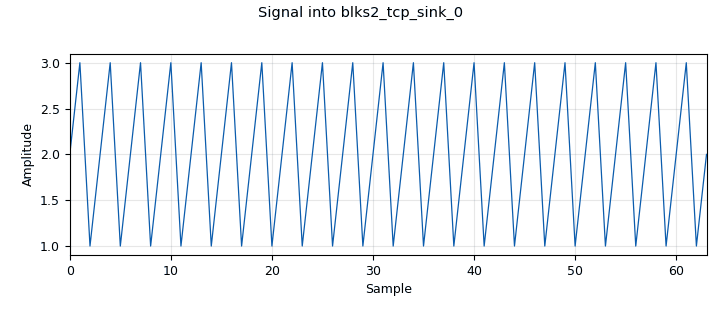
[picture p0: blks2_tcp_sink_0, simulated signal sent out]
<?xml version='1.0' encoding='utf-8'?>
<?grc format='1' created='3.7.9'?>
<flow_graph>
<block>
<key>options</key>
<param><key>id</key><value>top_block_tcp_sink</value></param>
<param><key>category</key><value>Custom</value></param>
<param><key>generate_options</key><value>qt_gui</value></param>
</block>
<block>
<key>variable</key>
<param><key>id</key><value>samp_rate</value></param>
<param><key>value</key><value>32000</value></param>
</block>
<block>
<key>analog_sig_source_x</key>
<param><key>id</key><value>analog_sig_source_x_0</value></param>
<param><key>amp</key><value>1</value></param>
<param><key>_enabled</key><value>0</value></param>
<param><key>freq</key><value>1000</value></param>
<param><key>offset</key><value>0</value></param>
<param><key>type</key><value>float</value></param>
<param><key>samp_rate</key><value>samp_rate</value></param>
<param><key>waveform</key><value>analog.GR_COS_WAVE</value></param>
</block>
<block>
<key>blks2_tcp_sink</key>
<param><key>id</key><value>blks2_tcp_sink_0</value></param>
<param><key>addr</key><value>127.0.0.1</value></param>
<param><key>type</key><value>byte</value></param>
<param><key>server</key><value>False</value></param>
<param><key>port</key><value>12345</value></param>
<param><key>vlen</key><value>1</value></param>
</block>
<block>
<key>blocks_throttle</key>
<param><key>id</key><value>blocks_throttle_0</value></param>
<param><key>samples_per_second</key><value>samp_rate</value></param>
<param><key>type</key><value>byte</value></param>
</block>
<block>
<key>blocks_vector_source_x</key>
<param><key>id</key><value>blocks_vector_source_x_0</value></param>
<param><key>type</key><value>byte</value></param>
<param><key>repeat</key><value>True</value></param>
<param><key>vector</key><value>(1,2,3)</value></param>
</block>
<connection><source_block_id>analog_sig_source_x_0</source_block_id><sink_block_id>blocks_throttle_0</sink_block_id><source_key>0</source_key><sink_key>0</sink_key></connection>
<connection><source_block_id>blocks_throttle_0</source_block_id><sink_block_id>blks2_tcp_sink_0</sink_block_id><source_key>0</source_key><sink_key>0</sink_key></connection>
<connection><source_block_id>blocks_vector_source_x_0</source_block_id><sink_block_id>blocks_throttle_0</sink_block_id><source_key>0</source_key><sink_key>0</sink_key></connection>
</flow_graph>
